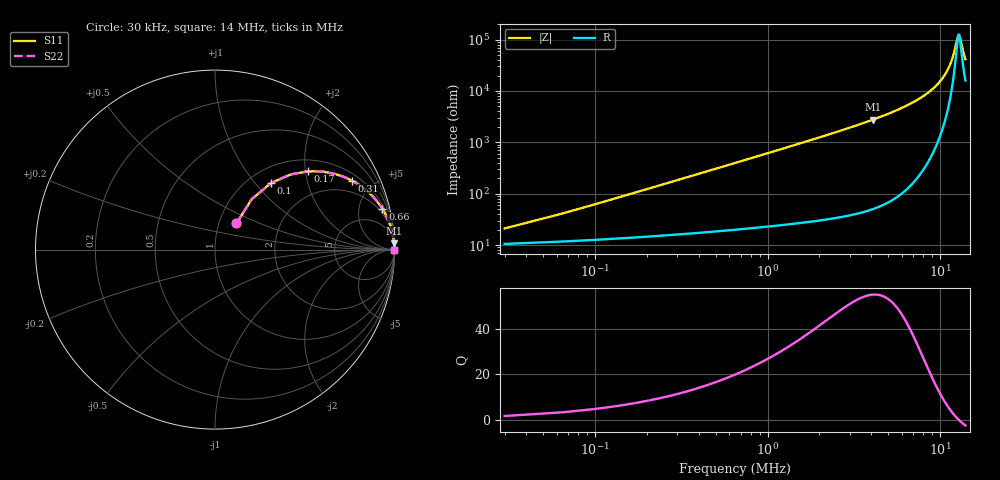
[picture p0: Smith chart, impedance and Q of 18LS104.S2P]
! Coilcraft 1812LS-104 Chip Inductor
! 8 August 2002
# MHZ S MA R 50
!Freq  MagS11  AngS11  MagS21  AngS21  MagS12  AngS12  MagS22  AngS22
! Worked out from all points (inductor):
!   401 points, 30 kHz to 14 MHz, reference 50 ohm
!   read as one part in series: L = 97 uH near 100 kHz
!   highest Q = 55 at 4.09 MHz (marker M1), where L = 108 uH
!   self-resonance near 12.8 MHz
!   S11 on the Smith chart (normalised r, x): 30 kHz: 1.21, +0.37; 100 kHz: 1.25, +1.22; 170 kHz: 1.28, +2.07; 310 kHz: 1.32, +3.78; 660 kHz: 1.40, +8.07; 14 MHz: open
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0.03  0.1884 50.6  0.8925 -9.4  0.8925 -9.4  0.1884 50.6
0.1  0.486 49.9  0.7808 -28.4  0.7808 -28.4  0.486 49.9
0.17  0.6786 40.0  0.6489 -42.3  0.6489 -42.3  0.6786 40.0
0.24  0.7899 32.3  0.537 -51.8  0.537 -51.8  0.7899 32.3
0.31  0.8551 26.7  0.4507 -58.4  0.4507 -58.4  0.8551 26.7
0.45  0.9208 19.5  0.3346 -66.8  0.3346 -66.8  0.9208 19.5
0.66  0.9596 13.7  0.2376 -73.4  0.2376 -73.4  0.9596 13.7
0.975  0.9803 9.4  0.1639 -78.4  0.1639 -78.4  0.9803 9.4
1.36  0.9894 6.8  0.118 -81.5  0.118 -81.5  0.9894 6.8
2.375  0.9963 3.8  0.06645 -84.9  0.06645 -84.9  0.9963 3.8
4.09  0.9987 2.1  0.03598 -86.9  0.03598 -86.9  0.9987 2.1
4.72  0.999 1.7  0.03002 -87.2  0.03002 -87.2  0.999 1.7
7.03  0.9994 0.9  0.01632 -87.5  0.01632 -87.5  0.9994 0.9
9.375  0.9994 0.5  0.008162 -85.9  0.008162 -85.9  0.9994 0.5
10.74  0.9994 0.3  0.004607 -82.1  0.004607 -82.1  0.9994 0.3
11.685  0.9993 0.1  0.002492 -73.8  0.002492 -73.8  0.9993 0.1
12.07  0.9993 0.1  0.001725 -65.2  0.001725 -65.2  0.9993 0.1
12.595  0.9992 0.0  0.0009089 -31.9  0.0009089 -31.9  0.9992 0.0
12.805  0.9992 0.0  0.0007943 -4.3  0.0007943 -4.3  0.9992 0.0
13.015  0.9992 -0.0  0.0008873 23.5  0.0008873 23.5  0.9992 -0.0
13.575  0.9991 -0.1  0.001673 58.5  0.001673 58.5  0.9991 -0.1
14  0.9991 -0.1  0.002397 67.3  0.002397 67.3  0.9991 -0.1
